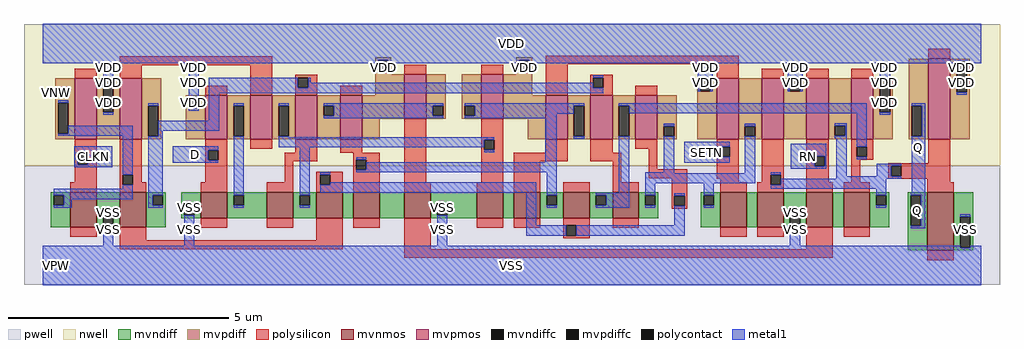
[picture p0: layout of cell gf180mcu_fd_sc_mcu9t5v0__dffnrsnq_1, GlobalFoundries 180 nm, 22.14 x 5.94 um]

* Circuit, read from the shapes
.subckt gf180mcu_fd_sc_mcu9t5v0__dffnrsnq_1 D RN SETN CLKN Q VDD VNW VPW VSS
XM1 VSS CLKN n1 VPW nfet_06v0 w=0.79u l=0.6u
XM2 n2 n1 VSS VPW nfet_06v0 w=0.79u l=0.6u
XM3 n3 D VSS VPW nfet_06v0 w=0.59u l=0.6u
XM4 n4 n2 n3 VPW nfet_06v0 w=0.59u l=0.6u
XM5 n5 n1 n4 VPW nfet_06v0 w=0.59u l=0.6u
XM6 n6 n7 n5 VPW nfet_06v0 w=0.59u l=0.6u
XM7 VSS RN n6 VPW nfet_06v0 w=0.59u l=0.6u
XM8 n8 n4 VSS VPW nfet_06v0 w=0.59u l=0.6u
XM9 n7 SETN n8 VPW nfet_06v0 w=0.59u l=0.6u
XM10 n9 n1 n7 VPW nfet_06v0 w=0.59u l=0.6u
XM11 n10 n2 n9 VPW nfet_06v0 w=0.59u l=0.6u
XM12 n11 SETN n10 VPW nfet_06v0 w=0.79u l=0.6u
XM13 VSS n12 n11 VPW nfet_06v0 w=0.79u l=0.6u
XM14 n13 RN VSS VPW nfet_06v0 w=0.79u l=0.6u
XM15 n12 n9 n13 VPW nfet_06v0 w=0.79u l=0.6u
XM16 VSS n12 Q VPW nfet_06v0 w=1.32u l=0.6u
XM17 VDD CLKN n1 VNW pfet_06v0 w=1.38u l=0.5u
XM18 n2 n1 VDD VNW pfet_06v0 w=1.38u l=0.5u
XM19 n3 D VDD VNW pfet_06v0 w=1u l=0.5u
XM20 n4 n1 n3 VNW pfet_06v0 w=1u l=0.5u
XM21 n14 n2 n4 VNW pfet_06v0 w=1u l=0.5u
XM22 VDD n7 n14 VNW pfet_06v0 w=1u l=0.5u
XM23 n14 RN VDD VNW pfet_06v0 w=1u l=0.5u
XM24 VDD n4 n7 VNW pfet_06v0 w=1u l=0.5u
XM25 n7 SETN VDD VNW pfet_06v0 w=1u l=0.5u
XM26 n9 n2 n7 VNW pfet_06v0 w=1u l=0.5u
XM27 n10 n1 n9 VNW pfet_06v0 w=1u l=0.5u
XM28 n10 SETN VDD VNW pfet_06v0 w=1.38u l=0.5u
XM29 VDD n12 n10 VNW pfet_06v0 w=1.38u l=0.5u
XM30 n12 RN VDD VNW pfet_06v0 w=1.38u l=0.5u
XM31 VDD n9 n12 VNW pfet_06v0 w=1.38u l=0.5u
XM32 VDD n12 Q VNW pfet_06v0 w=1.83u l=0.5u
.ends

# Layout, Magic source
magic
tech gf180mcuD
magscale 1 10
<< nwell >>
rect -86 453 4342 1094
<< pwell >>
rect -86 -86 4342 453
<< mvnmos >>
rect 124 175 244 333
rect 348 175 468 333
rect 716 215 836 333
rect 1016 215 1136 333
rect 1240 215 1360 333
rect 1408 215 1528 333
rect 1640 215 1760 333
rect 1968 215 2088 333
rect 2136 215 2256 333
rect 2360 215 2480 333
rect 2584 215 2704 333
rect 3072 175 3192 333
rect 3240 175 3360 333
rect 3464 175 3584 333
rect 3632 175 3752 333
rect 4012 69 4132 333
<< mvpmos >>
rect 144 573 244 849
rect 348 573 448 849
rect 736 573 836 773
rect 940 573 1040 773
rect 1144 573 1244 773
rect 1348 573 1448 773
rect 1640 667 1740 867
rect 1988 667 2088 867
rect 2280 573 2380 773
rect 2484 573 2584 773
rect 2688 573 2788 773
rect 3056 573 3156 849
rect 3260 573 3360 849
rect 3464 573 3564 849
rect 3668 573 3768 849
rect 4016 573 4116 939
<< mvndiff >>
rect 36 320 124 333
rect 36 274 49 320
rect 95 274 124 320
rect 36 175 124 274
rect 244 234 348 333
rect 244 188 273 234
rect 319 188 348 234
rect 244 175 348 188
rect 468 320 556 333
rect 468 274 497 320
rect 543 274 556 320
rect 468 175 556 274
rect 628 274 716 333
rect 628 228 641 274
rect 687 228 716 274
rect 628 215 716 228
rect 836 320 1016 333
rect 836 274 865 320
rect 911 274 1016 320
rect 836 215 1016 274
rect 1136 320 1240 333
rect 1136 274 1165 320
rect 1211 274 1240 320
rect 1136 215 1240 274
rect 1360 215 1408 333
rect 1528 215 1640 333
rect 1760 274 1968 333
rect 1760 228 1789 274
rect 1835 228 1968 274
rect 1760 215 1968 228
rect 2088 215 2136 333
rect 2256 320 2360 333
rect 2256 274 2285 320
rect 2331 274 2360 320
rect 2256 215 2360 274
rect 2480 320 2584 333
rect 2480 274 2509 320
rect 2555 274 2584 320
rect 2480 215 2584 274
rect 2704 320 2792 333
rect 2704 274 2733 320
rect 2779 274 2792 320
rect 2704 215 2792 274
rect 2984 320 3072 333
rect 2984 274 2997 320
rect 3043 274 3072 320
rect 2984 175 3072 274
rect 3192 175 3240 333
rect 3360 234 3464 333
rect 3360 188 3389 234
rect 3435 188 3464 234
rect 3360 175 3464 188
rect 3584 175 3632 333
rect 3752 320 3840 333
rect 3752 274 3781 320
rect 3827 274 3840 320
rect 3752 175 3840 274
rect 3924 320 4012 333
rect 3924 180 3937 320
rect 3983 180 4012 320
rect 3924 69 4012 180
rect 4132 222 4220 333
rect 4132 82 4161 222
rect 4207 82 4220 222
rect 4132 69 4220 82
<< mvpdiff >>
rect 56 739 144 849
rect 56 599 69 739
rect 115 599 144 739
rect 56 573 144 599
rect 244 836 348 849
rect 244 696 273 836
rect 319 696 348 836
rect 244 573 348 696
rect 448 726 536 849
rect 1508 932 1580 945
rect 1508 886 1521 932
rect 1567 886 1580 932
rect 2148 932 2220 945
rect 1508 867 1580 886
rect 2148 886 2161 932
rect 2207 886 2220 932
rect 2148 867 2220 886
rect 1508 773 1640 867
rect 448 586 477 726
rect 523 586 536 726
rect 448 573 536 586
rect 648 760 736 773
rect 648 714 661 760
rect 707 714 736 760
rect 648 573 736 714
rect 836 726 940 773
rect 836 586 865 726
rect 911 586 940 726
rect 836 573 940 586
rect 1040 726 1144 773
rect 1040 586 1069 726
rect 1115 586 1144 726
rect 1040 573 1144 586
rect 1244 726 1348 773
rect 1244 680 1273 726
rect 1319 680 1348 726
rect 1244 573 1348 680
rect 1448 667 1640 773
rect 1740 726 1828 867
rect 1740 680 1769 726
rect 1815 680 1828 726
rect 1740 667 1828 680
rect 1900 726 1988 867
rect 1900 680 1913 726
rect 1959 680 1988 726
rect 1900 667 1988 680
rect 2088 773 2220 867
rect 2968 836 3056 849
rect 2968 790 2981 836
rect 3027 790 3056 836
rect 2088 667 2280 773
rect 1448 573 1528 667
rect 2200 573 2280 667
rect 2380 726 2484 773
rect 2380 586 2409 726
rect 2455 586 2484 726
rect 2380 573 2484 586
rect 2584 726 2688 773
rect 2584 586 2613 726
rect 2659 586 2688 726
rect 2584 573 2688 586
rect 2788 632 2876 773
rect 2788 586 2817 632
rect 2863 586 2876 632
rect 2788 573 2876 586
rect 2968 573 3056 790
rect 3156 632 3260 849
rect 3156 586 3185 632
rect 3231 586 3260 632
rect 3156 573 3260 586
rect 3360 836 3464 849
rect 3360 790 3389 836
rect 3435 790 3464 836
rect 3360 573 3464 790
rect 3564 634 3668 849
rect 3564 588 3593 634
rect 3639 588 3668 634
rect 3564 573 3668 588
rect 3768 836 3856 849
rect 3768 696 3797 836
rect 3843 696 3856 836
rect 3768 573 3856 696
rect 3928 726 4016 939
rect 3928 586 3941 726
rect 3987 586 4016 726
rect 3928 573 4016 586
rect 4116 926 4204 939
rect 4116 786 4145 926
rect 4191 786 4204 926
rect 4116 573 4204 786
<< mvndiffc >>
rect 49 274 95 320
rect 273 188 319 234
rect 497 274 543 320
rect 641 228 687 274
rect 865 274 911 320
rect 1165 274 1211 320
rect 1789 228 1835 274
rect 2285 274 2331 320
rect 2509 274 2555 320
rect 2733 274 2779 320
rect 2997 274 3043 320
rect 3389 188 3435 234
rect 3781 274 3827 320
rect 3937 180 3983 320
rect 4161 82 4207 222
<< mvpdiffc >>
rect 69 599 115 739
rect 273 696 319 836
rect 1521 886 1567 932
rect 2161 886 2207 932
rect 477 586 523 726
rect 661 714 707 760
rect 865 586 911 726
rect 1069 586 1115 726
rect 1273 680 1319 726
rect 1769 680 1815 726
rect 1913 680 1959 726
rect 2981 790 3027 836
rect 2409 586 2455 726
rect 2613 586 2659 726
rect 2817 586 2863 632
rect 3185 586 3231 632
rect 3389 790 3435 836
rect 3593 588 3639 634
rect 3797 696 3843 836
rect 3941 586 3987 726
rect 4145 786 4191 926
<< polysilicon >>
rect 348 909 1040 949
rect 144 849 244 893
rect 348 849 448 909
rect 736 773 836 817
rect 940 773 1040 909
rect 1640 867 1740 911
rect 1988 867 2088 911
rect 1144 852 1244 865
rect 1144 806 1157 852
rect 1203 806 1244 852
rect 1144 773 1244 806
rect 1348 773 1448 817
rect 2280 913 3156 953
rect 4016 939 4116 983
rect 2280 773 2380 913
rect 2484 852 2584 865
rect 2484 806 2497 852
rect 2543 806 2584 852
rect 3056 849 3156 913
rect 3260 849 3360 893
rect 3464 849 3564 893
rect 3668 849 3768 893
rect 2484 773 2584 806
rect 2688 773 2788 817
rect 144 504 244 573
rect 144 458 157 504
rect 203 458 244 504
rect 144 377 244 458
rect 124 333 244 377
rect 348 412 448 573
rect 348 366 361 412
rect 407 377 448 412
rect 736 523 836 573
rect 940 529 1040 573
rect 736 477 749 523
rect 795 477 836 523
rect 1144 513 1244 573
rect 1348 513 1448 573
rect 736 377 836 477
rect 1096 473 1244 513
rect 1408 480 1528 513
rect 1096 377 1136 473
rect 1408 434 1421 480
rect 1467 434 1528 480
rect 407 366 468 377
rect 348 333 468 366
rect 716 333 836 377
rect 1016 333 1136 377
rect 1240 412 1360 425
rect 1240 366 1257 412
rect 1303 366 1360 412
rect 1240 333 1360 366
rect 1408 333 1528 434
rect 1640 377 1740 667
rect 1988 572 2088 667
rect 1988 526 2001 572
rect 2047 526 2088 572
rect 1988 377 2088 526
rect 2280 513 2380 573
rect 1640 333 1760 377
rect 1968 333 2088 377
rect 2136 473 2380 513
rect 2484 513 2584 573
rect 2688 529 2788 573
rect 2484 473 2624 513
rect 2136 333 2256 473
rect 2584 377 2624 473
rect 2748 437 2788 529
rect 3056 540 3156 573
rect 3056 494 3069 540
rect 3115 494 3156 540
rect 2748 397 2924 437
rect 2360 333 2480 377
rect 2584 333 2704 377
rect 2852 317 2924 397
rect 3056 393 3156 494
rect 3072 377 3156 393
rect 3260 412 3360 573
rect 3260 377 3301 412
rect 3072 333 3192 377
rect 3240 366 3301 377
rect 3347 366 3360 412
rect 3240 333 3360 366
rect 3464 497 3564 573
rect 3464 451 3502 497
rect 3548 451 3564 497
rect 3464 377 3564 451
rect 3668 540 3768 573
rect 3668 494 3692 540
rect 3738 494 3768 540
rect 3668 481 3768 494
rect 3668 377 3708 481
rect 4016 465 4116 573
rect 3836 452 4116 465
rect 3836 406 3849 452
rect 3895 406 4116 452
rect 3836 393 4116 406
rect 4012 377 4116 393
rect 3464 333 3584 377
rect 3632 333 3752 377
rect 4012 333 4132 377
rect 2852 271 2865 317
rect 2911 271 2924 317
rect 2852 258 2924 271
rect 124 131 244 175
rect 348 115 468 175
rect 716 171 836 215
rect 1016 171 1136 215
rect 1240 115 1360 215
rect 1408 171 1528 215
rect 348 75 1360 115
rect 1640 75 1760 215
rect 1968 171 2088 215
rect 2136 171 2256 215
rect 2360 182 2480 215
rect 2360 136 2373 182
rect 2419 136 2480 182
rect 2584 171 2704 215
rect 2360 123 2480 136
rect 3072 131 3192 175
rect 3240 131 3360 175
rect 3464 75 3584 175
rect 3632 131 3752 175
rect 1640 35 3584 75
rect 4012 25 4132 69
<< polycontact >>
rect 1157 806 1203 852
rect 2497 806 2543 852
rect 157 458 203 504
rect 361 366 407 412
rect 749 477 795 523
rect 1421 434 1467 480
rect 1257 366 1303 412
rect 2001 526 2047 572
rect 3069 494 3115 540
rect 3301 366 3347 412
rect 3502 451 3548 497
rect 3692 494 3738 540
rect 3849 406 3895 452
rect 2865 271 2911 317
rect 2373 136 2419 182
<< metal1 >>
rect 0 932 4256 1098
rect 0 918 1521 932
rect 273 836 319 918
rect 69 739 115 750
rect 661 760 707 918
rect 1567 918 2161 932
rect 1521 875 1567 886
rect 2207 926 4256 932
rect 2207 918 4145 926
rect 2161 875 2207 886
rect 2497 852 2543 863
rect 273 685 319 696
rect 477 726 523 737
rect 115 599 407 634
rect 69 588 407 599
rect 142 504 315 542
rect 142 458 157 504
rect 203 458 315 504
rect 142 447 315 458
rect 361 412 407 588
rect 361 348 407 366
rect 49 320 407 348
rect 95 302 407 320
rect 661 703 707 714
rect 753 806 1157 852
rect 1203 829 1214 852
rect 1203 806 2497 829
rect 753 783 2543 806
rect 2970 836 3038 918
rect 2970 790 2981 836
rect 3027 790 3038 836
rect 3378 836 3446 918
rect 3378 790 3389 836
rect 3435 790 3446 836
rect 3797 836 3843 918
rect 753 657 799 783
rect 523 611 799 657
rect 865 726 911 737
rect 523 586 543 611
rect 477 320 543 586
rect 589 523 795 542
rect 589 477 749 523
rect 589 466 795 477
rect 95 274 131 302
rect 49 263 131 274
rect 477 274 497 320
rect 865 320 911 586
rect 1069 726 1115 737
rect 1273 726 1815 737
rect 1319 680 1769 726
rect 1273 669 1815 680
rect 1913 726 2455 737
rect 1959 689 2409 726
rect 1959 680 2331 689
rect 1913 669 2331 680
rect 1069 583 1115 586
rect 1069 572 2047 583
rect 1069 537 2001 572
rect 477 263 543 274
rect 641 274 687 285
rect 273 234 319 245
rect 273 90 319 188
rect 865 263 911 274
rect 1165 320 1211 537
rect 2001 515 2047 526
rect 1421 480 1467 491
rect 2278 469 2331 669
rect 2409 575 2455 586
rect 2613 726 3738 737
rect 2659 691 3738 726
rect 1467 434 2331 469
rect 1421 423 2331 434
rect 1257 412 1303 423
rect 1303 366 2239 377
rect 1257 331 2239 366
rect 1165 263 1211 274
rect 1789 274 1835 285
rect 641 90 687 228
rect 1789 90 1835 228
rect 2193 182 2239 331
rect 2285 320 2331 423
rect 2613 331 2659 586
rect 2817 632 2863 643
rect 2817 423 2863 586
rect 3185 632 3231 643
rect 2909 540 3115 561
rect 2909 494 3069 540
rect 2909 466 3115 494
rect 2285 263 2331 274
rect 2509 320 2659 331
rect 2555 274 2659 320
rect 2509 263 2659 274
rect 2733 420 2863 423
rect 3185 420 3231 586
rect 3593 634 3646 645
rect 3639 588 3646 634
rect 3593 577 3646 588
rect 3393 497 3554 552
rect 3393 451 3502 497
rect 3548 451 3554 497
rect 3393 440 3554 451
rect 2733 374 3231 420
rect 3301 412 3347 423
rect 2733 320 2779 374
rect 2733 263 2779 274
rect 2865 317 2911 328
rect 2865 182 2911 271
rect 2997 320 3043 374
rect 3600 405 3646 577
rect 3692 540 3738 691
rect 4191 918 4256 926
rect 4145 775 4191 786
rect 3797 685 3843 696
rect 3941 726 4002 737
rect 3692 483 3738 494
rect 3987 586 4002 726
rect 3782 452 3895 463
rect 3782 406 3849 452
rect 3782 405 3895 406
rect 3600 395 3895 405
rect 3600 394 3827 395
rect 3347 366 3827 394
rect 3301 348 3827 366
rect 2997 263 3043 274
rect 3781 320 3827 348
rect 3941 331 4002 586
rect 3781 263 3827 274
rect 3937 320 4002 331
rect 2193 136 2373 182
rect 2419 136 2911 182
rect 3389 234 3435 245
rect 3389 90 3435 188
rect 3983 180 4002 320
rect 3937 169 4002 180
rect 4161 222 4207 233
rect 0 82 4161 90
rect 4207 82 4256 90
rect 0 -90 4256 82
<< labels >>
flabel metal1 s 142 447 315 542 0 FreeSans 200 0 0 0 CLKN
port 4 nsew clock input
flabel metal1 s 589 466 795 542 0 FreeSans 200 0 0 0 D
port 1 nsew default input
flabel metal1 s 3941 331 4002 737 0 FreeSans 200 0 0 0 Q
port 5 nsew default output
flabel metal1 s 3393 440 3554 552 0 FreeSans 200 0 0 0 RN
port 2 nsew default input
flabel metal1 s 2909 466 3115 561 0 FreeSans 200 0 0 0 SETN
port 3 nsew default input
flabel metal1 s 0 918 4256 1098 0 FreeSans 200 0 0 0 VDD
port 6 nsew power bidirectional abutment
flabel metal1 s 1789 245 1835 285 0 FreeSans 200 0 0 0 VSS
port 9 nsew ground bidirectional abutment
flabel nwell s 10 734 110 834 0 FreeSans 400 0 0 0 VNW
port 7 nsew power bidirectional
flabel pwell s 10 -50 110 50 0 FreeSans 400 0 0 0 VPW
port 8 nsew ground bidirectional
rlabel metal1 s 3937 169 4002 331 1 Q
port 5 nsew default output
rlabel metal1 s 4145 875 4191 918 1 VDD
port 6 nsew power bidirectional abutment
rlabel metal1 s 3797 875 3843 918 1 VDD
port 6 nsew power bidirectional abutment
rlabel metal1 s 3378 875 3446 918 1 VDD
port 6 nsew power bidirectional abutment
rlabel metal1 s 2970 875 3038 918 1 VDD
port 6 nsew power bidirectional abutment
rlabel metal1 s 2161 875 2207 918 1 VDD
port 6 nsew power bidirectional abutment
rlabel metal1 s 1521 875 1567 918 1 VDD
port 6 nsew power bidirectional abutment
rlabel metal1 s 661 875 707 918 1 VDD
port 6 nsew power bidirectional abutment
rlabel metal1 s 273 875 319 918 1 VDD
port 6 nsew power bidirectional abutment
rlabel metal1 s 4145 790 4191 875 1 VDD
port 6 nsew power bidirectional abutment
rlabel metal1 s 3797 790 3843 875 1 VDD
port 6 nsew power bidirectional abutment
rlabel metal1 s 3378 790 3446 875 1 VDD
port 6 nsew power bidirectional abutment
rlabel metal1 s 2970 790 3038 875 1 VDD
port 6 nsew power bidirectional abutment
rlabel metal1 s 661 790 707 875 1 VDD
port 6 nsew power bidirectional abutment
rlabel metal1 s 273 790 319 875 1 VDD
port 6 nsew power bidirectional abutment
rlabel metal1 s 4145 775 4191 790 1 VDD
port 6 nsew power bidirectional abutment
rlabel metal1 s 3797 775 3843 790 1 VDD
port 6 nsew power bidirectional abutment
rlabel metal1 s 661 775 707 790 1 VDD
port 6 nsew power bidirectional abutment
rlabel metal1 s 273 775 319 790 1 VDD
port 6 nsew power bidirectional abutment
rlabel metal1 s 3797 703 3843 775 1 VDD
port 6 nsew power bidirectional abutment
rlabel metal1 s 661 703 707 775 1 VDD
port 6 nsew power bidirectional abutment
rlabel metal1 s 273 703 319 775 1 VDD
port 6 nsew power bidirectional abutment
rlabel metal1 s 3797 685 3843 703 1 VDD
port 6 nsew power bidirectional abutment
rlabel metal1 s 273 685 319 703 1 VDD
port 6 nsew power bidirectional abutment
rlabel metal1 s 641 245 687 285 1 VSS
port 9 nsew ground bidirectional abutment
rlabel metal1 s 3389 233 3435 245 1 VSS
port 9 nsew ground bidirectional abutment
rlabel metal1 s 1789 233 1835 245 1 VSS
port 9 nsew ground bidirectional abutment
rlabel metal1 s 641 233 687 245 1 VSS
port 9 nsew ground bidirectional abutment
rlabel metal1 s 273 233 319 245 1 VSS
port 9 nsew ground bidirectional abutment
rlabel metal1 s 4161 90 4207 233 1 VSS
port 9 nsew ground bidirectional abutment
rlabel metal1 s 3389 90 3435 233 1 VSS
port 9 nsew ground bidirectional abutment
rlabel metal1 s 1789 90 1835 233 1 VSS
port 9 nsew ground bidirectional abutment
rlabel metal1 s 641 90 687 233 1 VSS
port 9 nsew ground bidirectional abutment
rlabel metal1 s 273 90 319 233 1 VSS
port 9 nsew ground bidirectional abutment
rlabel metal1 s 0 -90 4256 90 1 VSS
port 9 nsew ground bidirectional abutment
<< properties >>
string FIXED_BBOX 0 0 4256 1008
string GDS_END 531116
string GDS_FILE $PDKPATH/libs.ref/gf180mcu_fd_sc_mcu9t5v0/gds/gf180mcu_fd_sc_mcu9t5v0.gds
string GDS_START 521432
string LEFclass core
string LEFsite GF018hv5v_green_sc9
string LEFsymmetry X Y
<< end >>
